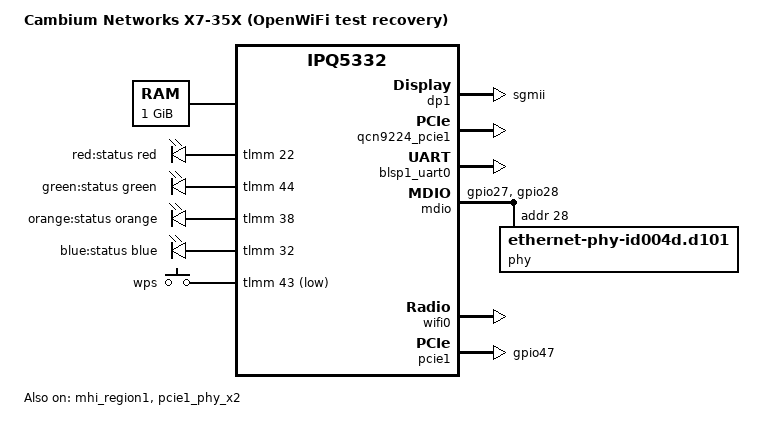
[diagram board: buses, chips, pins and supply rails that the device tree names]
// SPDX-License-Identifier: (GPL-2.0-only OR BSD-2-Clause)
/* The SDK Wi-Fi package globally defines the alternative secure-PIL flag.
 * Miami retains the compiled multi-PD loader and its own split-MDT contract.
 */
#undef __RPROC_DISABLE_MPD_SUPPORT__
/dts-v1/;
/memreserve/ 0x484ef000 0xe000;
#include <dt-bindings/gpio/gpio.h>
#include <dt-bindings/input/input.h>
#include <dt-bindings/leds/common.h>
#include "ipq5332.dtsi"
#include "ipq5332-default-memory.dtsi"
#include "ipq5332-miami-flash.dtsi"

/ {
	model = "Cambium Networks X7-35X (OpenWiFi test recovery)";
	compatible = "cambiumnetworks,x7-35x", "qcom,ipq5332";
	cambium-platform { compatible = "cambium-platform"; board-sku = <44>; };
	aliases { serial0 = &blsp1_uart0; ethernet0 = "/soc@0/dp1"; label-mac-device = "/soc@0/dp1"; led-boot = &led_orange; led-failsafe = &led_orange; led-running = &led_green; led-upgrade = &led_orange; };
	chosen { stdout-path = "serial0:115200n8"; bootargs = "console=ttyMSM0,115200n8"; };
	memory@40000000 { device_type = "memory"; reg = <0 0x40000000 0 0x40000000>; };
	reserved-memory {
		/delete-node/ tzapp@49600000;
		/delete-node/ qcn9224_pcie0@4ec00000;
		tzapp: tzapp@49b00000 { reg = <0 0x49b00000 0 0x600000>; no-map; };
	};
	/* GPIOs, active-high polarity and defaults from stock OpenWrt
	 * ad96727cbe:22 red,44 green,38 orange,32 blue. Explicit labels
	 * preserve names on the SDK kernel whose orange color name is absent.
	 */
	leds {
		compatible = "gpio-leds";
		led_red: led-red { label = "red:status"; color = <LED_COLOR_ID_RED>; function = LED_FUNCTION_STATUS; gpios = <&tlmm 22 GPIO_ACTIVE_HIGH>; default-state = "off"; };
		led_green: led-green { label = "green:status"; color = <LED_COLOR_ID_GREEN>; function = LED_FUNCTION_STATUS; gpios = <&tlmm 44 GPIO_ACTIVE_HIGH>; default-state = "off"; };
		led_orange: led-orange { label = "orange:status"; color = <LED_COLOR_ID_ORANGE>; function = LED_FUNCTION_STATUS; gpios = <&tlmm 38 GPIO_ACTIVE_HIGH>; default-state = "on"; };
		led_blue: led-blue { label = "blue:status"; color = <LED_COLOR_ID_BLUE>; function = LED_FUNCTION_STATUS; gpios = <&tlmm 32 GPIO_ACTIVE_HIGH>; default-state = "off"; };
	};
	keys { compatible = "gpio-keys";
		pinctrl-0 = <&miami_button_pins>; pinctrl-names = "default";
		button-wps { label = "wps"; linux,code = <KEY_WPS_BUTTON>; gpios = <&tlmm 43 GPIO_ACTIVE_LOW>; debounce-interval = <60>; };
	};
	soc@0 {
		/* IPQ5332 SDK EDMA allocation/IRQ map, shared with the reference target.
		 * This configures the host/virtual-port rings, not extra physical ports.
		 * Derived from QCI IPQ5332 board configuration (2022-2024).
		 */
		edma@3ab00000 {
			qcom,txdesc-ring-start = <4>;		/* Tx desc ring start ID */
			qcom,txdesc-rings = <12>;		/* Total number of Tx desc rings to be provisioned */
			qcom,mht-txdesc-rings = <8>;            /* Extra Tx desc rings to be provisioned for MHT SW ports */
			qcom,txcmpl-ring-start = <4>;		/* Tx complete ring start ID */
			qcom,txcmpl-rings = <12>;		/* Total number of Tx complete rings to be provisioned */
			qcom,mht-txcmpl-rings = <8>;            /* Extra Tx complete rings to be provisioned for mht sw ports. */
			qcom,rxfill-ring-start = <4>;		/* Rx fill ring start ID */
			qcom,rxfill-rings = <4>;		/* Total number of Rx fill rings to be provisioned */
			qcom,rxdesc-ring-start = <12>;		/* Rx desc ring start ID */
			qcom,rxdesc-rings = <4>;		/* Total number of Rx desc rings to be provisioned */
			qcom,rx-page-mode = <0>;		/* Rx fill ring page mode */
			qcom,tx-map-priority-level = <1>;	/* Tx priority level per port */
			qcom,rx-map-priority-level = <1>;	/* Rx priority level per core */
			qcom,num_loopback_rings = <1>;
			qcom,txdesc_loopback_ring_id = <0>;
			qcom,txcmpl_loopback_ring_id = <0>;
			qcom,rxfill_loopback_ring_id = <0>;
			qcom,rxdesc_loopback_ring_id = <0>;
			qcom,loopback_queue_base = <56>;
			qcom,loopback_num_queues = <8>;
			qcom,ppeds-num = <2>;			/* Number of PPEDS nodes */
			/* PPE-DS node format: <Rx-fill Tx-cmpl Rx Tx Queue-base Queue-count> */
			qcom,ppeds-map = <1 1 1 1 32 8>,	/* PPEDS Node#0 ring and queue map */
					<2 2 2 2 40 8>;		/* PPEDS Node#1 ring and queue map */
			qcom,txdesc-map = <8 9 10 11>,		/* Port0 per-core Tx ring map */
					<12 13 14 15>,        /* MHT-Port1 per-core Tx ring map */
					<4 5 6 7>,            /* MHT-Port2 per-core Tx ring map/packets from  vp*/
					<16 17 18 19>,        /* MHT-Port3 per-core Tx ring map */
					<20 21 22 23>;        /* MHT-Port4 per-core Tx ring map */
			qcom,txdesc-fc-grp-map = <1 2 3 4 5>;   /* Per GMAC flow control group map */
			qcom,rxfill-map = <4 5 6 7>;		/* Per-core Rx fill ring map */
			qcom,rxdesc-map = <12 13 14 15>;	/* Per-core Rx desc ring map */
			qcom,rx-queue-start = <0>;		/* Rx queue start */
			qcom,rx-ring-queue-map = <0 8 16 24>,	/* Priority 0 queues per-core Rx ring map */
						<1 9 17 25>,	/* Priority 1 queues per-core Rx ring map */
						<2 10 18 26>,	/* Priority 2 queues per-core Rx ring map */
						<3 11 19 27>,	/* Priority 3 queues per-core Rx ring map */
						<4 12 20 28>,	/* Priority 4 queues per-core Rx ring map */
						<5 13 21 29>,	/* Priority 5 queues per-core Rx ring map */
						<6 14 22 30>,	/* Priority 6 queues per-core Rx ring map */
						<7 15 23 31>;	/* Priority 7 queues per-core Rx ring map */
			interrupts = <0 163 4>,			/* Tx complete ring id #4 IRQ info */
				   <0 164 4>,			/* Tx complete ring id #5 IRQ info */
				   <0 165 4>,			/* Tx complete ring id #6 IRQ info */
				   <0 166 4>,			/* Tx complete ring id #7 IRQ info */
				   <0 167 4>,			/* Tx complete ring id #8 IRQ info */
				   <0 168 4>,			/* Tx complete ring id #9 IRQ info */
				   <0 169 4>,			/* Tx complete ring id #10 IRQ info */
				   <0 170 4>,			/* Tx complete ring id #11 IRQ info */
				   <0 171 4>,			/* Tx complete ring id #12 IRQ info */
				   <0 172 4>,			/* Tx complete ring id #13 IRQ info */
				   <0 173 4>,			/* Tx complete ring id #14 IRQ info */
				   <0 174 4>,			/* Tx complete ring id #15 IRQ info */
				   <0 139 4>,			/* Rx desc ring id #12 IRQ info */
				   <0 140 4>,			/* Rx desc ring id #13 IRQ info */
				   <0 141 4>,			/* Rx desc ring id #14 IRQ info */
				   <0 142 4>,			/* Rx desc ring id #15 IRQ info */
				   <0 191 4>,			/* Misc error IRQ info */
				   <0 155 4>,			/* RxFill ring id #4 IRQ info */
				   <0 156 4>,			/* RxFill ring id #5 IRQ info */
				   <0 157 4>,			/* RxFill ring id #6 IRQ info */
				   <0 158 4>,			/* RxFill ring id #7 IRQ info */
				<0 160 4>,			/* PPEDS Node #1(TxComp ring id #1) TxComplete IRQ info */
				<0 128 4>,			/* PPEDS Node #1(Rx Desc ring id #1) Rx Desc IRQ info */
				<0 152 4>,			/* PPEDS Node #1(RxFill Desc ring id #1) Rx Fill IRQ info */
				<0 161 4>,			/* PPEDS Node #2(TxComp ring id #2) TxComplete IRQ info */
				<0 129 4>,			/* PPEDS Node #2(Rx Desc ring id #2) Rx Desc IRQ info */
				<0 153 4>,                      /* PPEDS Node #2(RxFill Desc ring id #2) Rx Fill IRQ info */
				<0 175 4>,                   /* MHT port Tx complete ring id #16 IRQ info */
				<0 176 4>,                   /* MHT port Tx complete ring id #17 IRQ info */
				<0 177 4>,                   /* MHT port Tx complete ring id #18 IRQ info */
				<0 178 4>,                   /* MHT port Tx complete ring id #19 IRQ info */
				<0 179 4>,                   /* MHT port Tx complete ring id #20 IRQ info */
				<0 180 4>,                   /* MHT port Tx complete ring id #21 IRQ info */
				<0 181 4>,                   /* MHT port Tx complete ring id #22 IRQ info */
				<0 182 4>;                   /* MHT port Tx complete ring id #23 IRQ info */
		};
		dp1 {
			device_type = "network"; compatible = "qcom,nss-dp";
			qcom,id = <1>; reg = <0x3a500000 0x4000>; qcom,mactype = <1>;
			mdio-bus = <&mdio>; qcom,phy-mdio-addr = <28>;
			qcom,link-poll = <1>; phy-mode = "sgmii";
		};
	};
};
&mlo_global_mem0 { reg = <0 0x4db00000 0 0x1100000>; };
&qcn9224_pcie1 { status = "okay"; reg = <0 0x51e00000 0 0x3200000>; };
&mhi_region1 { status = "okay"; reg = <0 0x7f700000 0 0x900000>; /delete-property/ size; /delete-property/ alignment; /delete-property/ alloc-ranges; };
&sleep_clk { clock-frequency = <32000>; };
&xo { clock-frequency = <24000000>; };
&blsp1_uart0 { pinctrl-0 = <&serial_0_pins>; pinctrl-names = "default"; status = "okay"; };
&tlmm {
	miami_button_pins: miami-button-state { pins = "gpio43"; function = "gpio"; drive-strength = <8>; bias-pull-up; };
	miami_mdio_pins: miami-mdio-state {
		mdc { pins = "gpio27"; function = "mdc1"; drive-strength = <8>; bias-disable; };
		mdio { pins = "gpio28"; function = "mdio1"; drive-strength = <8>; bias-pull-up; };
	};
	miami_perst: miami-pcie1-perst { pins = "gpio47"; function = "gpio"; drive-strength = <8>; bias-pull-up; };
};
&mdio {
	#size-cells = <0>;
	pinctrl-0 = <&miami_mdio_pins>; pinctrl-names = "default";
	phy-reset-gpio = <&tlmm 25 GPIO_ACTIVE_LOW>;
	status = "okay";
	phy@1c { reg = <28>; compatible = "ethernet-phy-id004d.d101"; };
};
&ess_instance {
	#address-cells = <1>; #size-cells = <1>;
	ess-switch@3a000000 {
		switch_cpu_bmp = <1>; switch_lan_bmp = <2>; switch_wan_bmp = <0>;
		switch_mac_mode = <0xc>; switch_mac_mode1 = <0xff>; switch_mac_mode2 = <0xff>;
		qcom,port_phyinfo { port@0 { port_id = <1>; phy_address = <28>; mdiobus = <&mdio>; }; };
	};
};
&q6v5_wcss {
	memory-region = <&q6_region>;
	/* The SDK ath12k driver owns user-PD firmware/spawn/stop IRQs. */
	m3_firmware = "IPQ5332/iu_fw.mdt";
	/delete-node/ remoteproc_pd1;
};
&wifi0 {
	qcom,rproc = <&q6v5_wcss>;
	/delete-property/ qcom,rproc_rpd;
	/delete-property/ qcom,multipd_arch;
	qcom,userpd-subsys-name = "q6v5_wcss_userpd1";
	memory-region = <&q6_region>, <&q6_region>, <&q6_ipq5332_data>, <&m3_dump>, <&mlo_global_mem0>, <&q6_etr_region>;
	memory-region-names = "q6-region", "q6region-1", "host-ddr-mem", "m3-dump", "mlo-global-mem", "q6-etr-dump";
	qcom,board_id = <0x12>; status = "okay";
};
&pcie1_phy_x2 { status = "okay"; };
&pcie1 {
	pinctrl-0 = <&miami_perst>; pinctrl-names = "default";
	perst-gpios = <&tlmm 47 GPIO_ACTIVE_LOW>; status = "okay";
	pcie1_rp { reg = <0 0 0 0 0>; #address-cells = <3>; #size-cells = <2>; ranges;
		qcom,mhi@1 { reg = <0 0 0 0 0>;
			memory-region = <&qcn9224_pcie1>, <&mhi_region1>, <&mlo_global_mem0>;
			memory-region-names = "host-ddr-mem", "mhi-region", "mlo-global-mem";
			qcom,board_id = <0x1019>;
		};
	};
};
